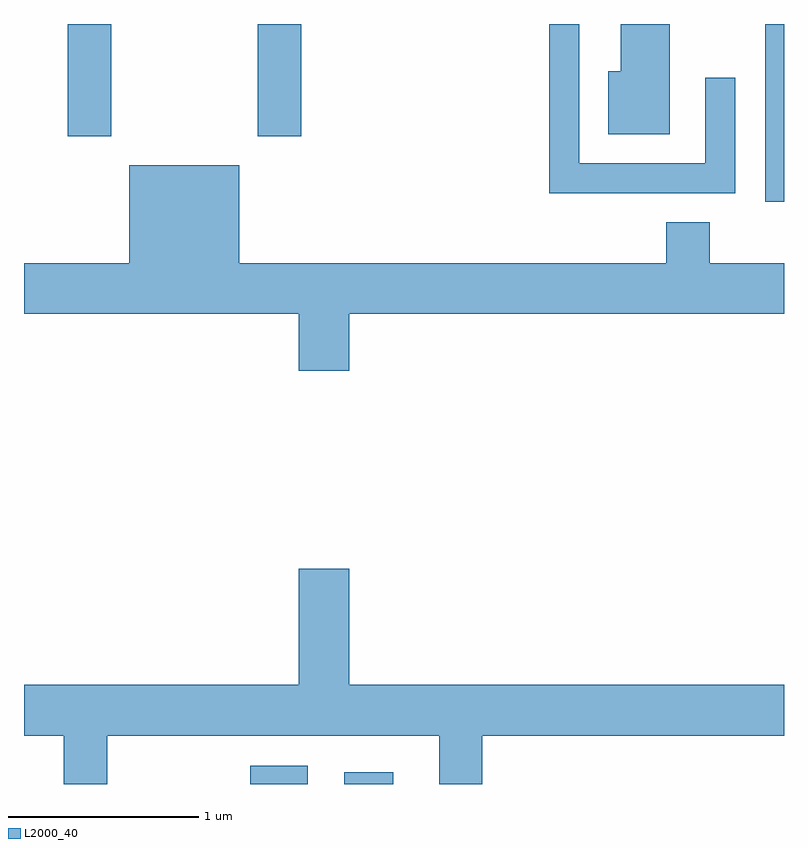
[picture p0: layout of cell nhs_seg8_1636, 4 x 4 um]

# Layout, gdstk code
import gdstk
lib = gdstk.Library(unit=1e-6, precision=1e-09)
def R(c, l, rs):  # rectangles x0, y0, x1, y1
    for r in rs: c.add(gdstk.rectangle(r[:2], r[2:], *l))
def P(c, l, *ps):  # polygons
    for p in ps: c.add(gdstk.Polygon(p, *l))
L2000_40 = (2000, 40)

nhs_seg8_1636 = lib.new_cell('nhs_seg8_1636')
R(nhs_seg8_1636, L2000_40, [(234.801,1878.342,235.104,1878.439), (235.296,1878.342,235.554,1878.404), (237.511,1881.406,237.611,1882.342), (233.841,1881.751,234.069,1882.342), (234.841,1881.751,235.069,1882.342)])
P(nhs_seg8_1636, L2000_40, [(237.009,1882.342),(236.751,1882.342),(236.751,1882.094),(236.686,1882.094),(236.686,1881.761),(237.009,1881.761)],
  [(237.354,1882.058),(237.196,1882.058),(237.196,1881.609),(236.534,1881.609),(236.534,1882.342),(236.376,1882.342),(236.376,1881.451),(237.354,1881.451)],
  [(235.324,1880.816),(237.611,1880.816),(237.611,1881.084),(237.219,1881.084),(237.219,1881.299),(236.991,1881.299),(236.991,1881.084),(234.744,1881.084),(234.744,1881.599),(234.166,1881.599),(234.166,1881.084),(233.611,1881.084),(233.611,1880.816),(235.056,1880.816),(235.056,1880.516),(235.324,1880.516)],
  [(234.049,1878.596),(235.796,1878.596),(235.796,1878.342),(236.024,1878.342),(236.024,1878.596),(237.611,1878.596),(237.611,1878.864),(235.324,1878.864),(235.324,1879.474),(235.056,1879.474),(235.056,1878.864),(233.611,1878.864),(233.611,1878.596),(233.821,1878.596),(233.821,1878.342),(234.049,1878.342)])

lib.write_gds('nhs_seg8_1636.gds')
